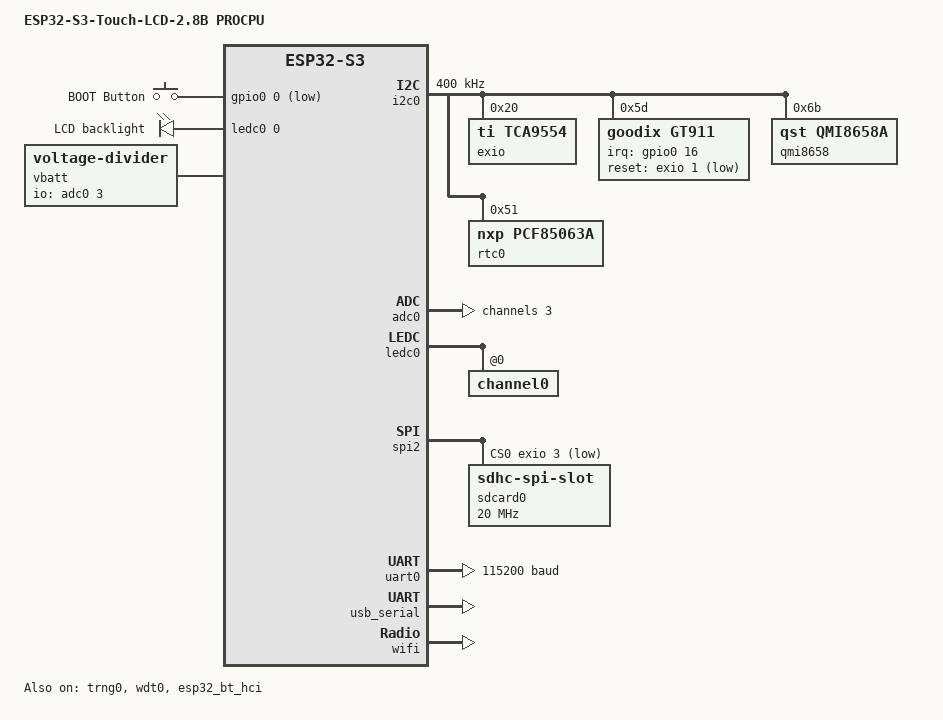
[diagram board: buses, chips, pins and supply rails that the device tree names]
/*
 * SPDX-FileCopyrightText: Copyright The Zephyr Project Contributors
 * SPDX-License-Identifier: Apache-2.0
 */

/dts-v1/;

#include <espressif/esp32s3/esp32s3.dtsi>
#include <zephyr/dt-bindings/adc/adc.h>
#include <zephyr/dt-bindings/input/input-event-codes.h>
#include <zephyr/dt-bindings/pwm/pwm.h>
#include <espressif/partitions_0x0_amp_16M.dtsi>
#include "esp32s3_touch_lcd_2_8b-pinctrl.dtsi"

/ {
	model = "ESP32-S3-Touch-LCD-2.8B PROCPU";
	compatible = "waveshare,esp32-s3-touch-lcd-2.8b";

	aliases {
		accel0 = &qmi8658;
		i2c-0 = &i2c0;
		pwm-0 = &ledc0;
		pwm-lcd0 = &pwm_lcd0;
		rtc = &rtc0;
		sdhc0 = &sdcard0;
		sw0 = &button0;
		uart-0 = &uart0;
		watchdog0 = &wdt0;
	};

	chosen {
		zephyr,sram = &sram1;
		zephyr,console = &usb_serial;
		zephyr,shell-uart = &usb_serial;
		zephyr,flash = &flash0;
		zephyr,code-partition = &slot0_partition;
		zephyr,bt-hci = &esp32_bt_hci;
		zephyr,touch = &gt911;
	};

	buttons {
		compatible = "gpio-keys";

		button0: button_0 {
			gpios = <&gpio0 0 (GPIO_PULL_UP | GPIO_ACTIVE_LOW)>;
			label = "BOOT Button";
			zephyr,code = <INPUT_KEY_0>;
		};
	};

	pwmleds {
		compatible = "pwm-leds";

		pwm_lcd0: pwm_lcd0 {
			pwms = <&ledc0 0 PWM_KHZ(20) PWM_POLARITY_NORMAL>;
			label = "LCD backlight";
		};
	};

	vbatt: vbatt {
		compatible = "voltage-divider";
		io-channels = <&adc0 3>;
		output-ohms = <100000>;
		full-ohms = <(200000 + 100000)>;
		skip-calibration; /* ESP32 ADC does not support calibration */
	};
};

&flash0 {
	reg = <0x0 DT_SIZE_M(16)>;
	ranges = <0x0 0x0 DT_SIZE_M(16)>;
};

&psram0 {
	size = <DT_SIZE_M(8)>;
};

&gpio0 {
	status = "okay";
};

&gpio1 {
	status = "okay";
};

&i2c0 {
	status = "okay";
	clock-frequency = <I2C_BITRATE_FAST>;
	pinctrl-0 = <&i2c0_default>;
	pinctrl-names = "default";

	/*
	 * P0: LCD reset, P1: touch reset, P2: LCD SPI chip select,
	 * P3: SD card chip select, P4: IMU INT1, P5: IMU INT2, P6: RTC INT,
	 * P7: buzzer. The expander INT output is not connected.
	 */
	exio: gpio@20 {
		compatible = "ti,tca9554";
		reg = <0x20>;
		gpio-controller;
		#gpio-cells = <2>;
		ngpios = <8>;
	};

	gt911: gt911@5d {
		compatible = "goodix,gt911";
		reg = <0x5d>;
		irq-gpios = <&gpio0 16 GPIO_ACTIVE_HIGH>;
		reset-gpios = <&exio 1 GPIO_ACTIVE_LOW>;
	};

	qmi8658: qmi8658@6b {
		compatible = "qst,qmi8658a";
		reg = <0x6b>;
	};

	rtc0: rtc@51 {
		compatible = "nxp,pcf85063a";
		reg = <0x51>;
	};
};

&adc0 {
	status = "okay";
	#address-cells = <1>;
	#size-cells = <0>;

	channel@3 {
		reg = <3>;
		zephyr,gain = "ADC_GAIN_1_4";
		zephyr,reference = "ADC_REF_INTERNAL";
		zephyr,acquisition-time = <ADC_ACQ_TIME_DEFAULT>;
		zephyr,resolution = <12>;
	};
};

&ledc0 {
	status = "okay";
	pinctrl-0 = <&ledc0_default>;
	pinctrl-names = "default";
	#address-cells = <1>;
	#size-cells = <0>;

	channel0@0 {
		reg = <0x0>;
		timer = <0>;
	};
};

/* SPI bus shared by the SD card and the LCD panel configuration interface */
&spi2 {
	status = "okay";
	#address-cells = <1>;
	#size-cells = <0>;
	pinctrl-0 = <&spim2_default>;
	pinctrl-names = "default";
	cs-gpios = <&exio 3 GPIO_ACTIVE_LOW>;

	sdcard0: sdhc@0 {
		compatible = "zephyr,sdhc-spi-slot";
		reg = <0>;
		spi-max-frequency = <DT_FREQ_M(20)>;

		mmc {
			compatible = "zephyr,sdmmc-disk";
			disk-name = "SD";
		};
	};
};

&uart0 {
	status = "okay";
	current-speed = <115200>;
	pinctrl-0 = <&uart0_default>;
	pinctrl-names = "default";
};

&usb_serial {
	status = "okay";
};

&trng0 {
	status = "okay";
};

&wdt0 {
	status = "okay";
};

&esp32_bt_hci {
	status = "okay";
};

&wifi {
	status = "okay";
};
